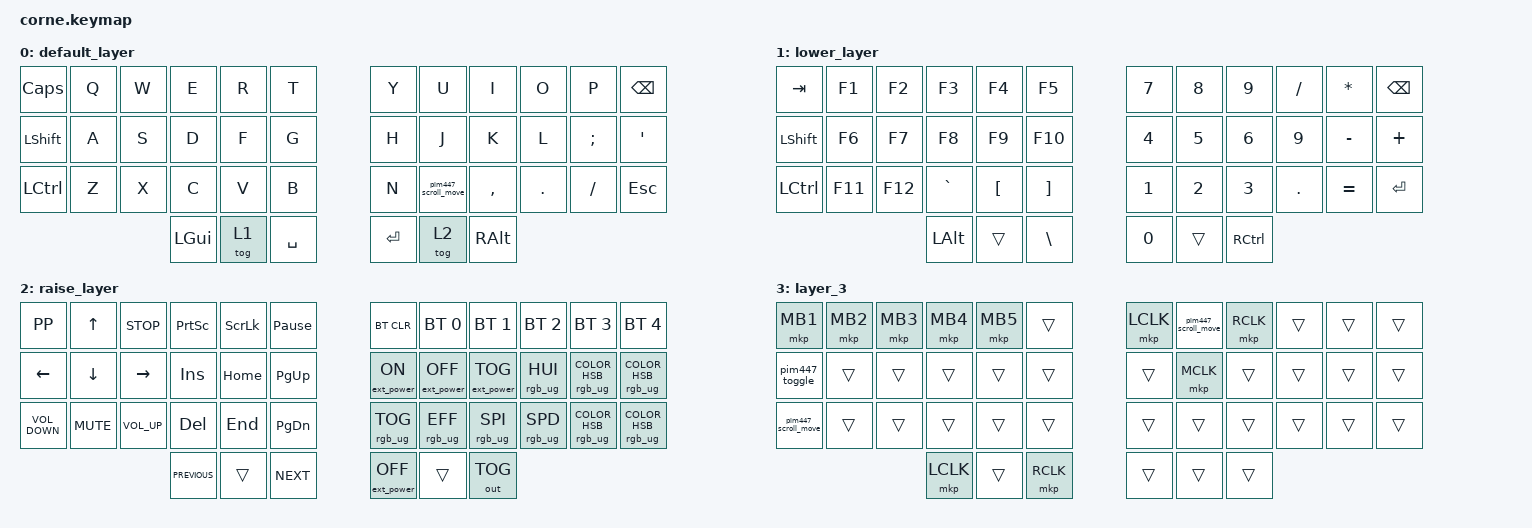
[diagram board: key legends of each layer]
/*
 * Copyright (c) 2021 The ZMK Contributors
 * #include <dt-bindings/zmk/pointing.h>
 * SPDX-License-Identifier: MIT
 */

#include <dt-bindings/led/led.h>
#include <dt-bindings/zmk/trackball_pim447.h>
#include <dt-bindings/zmk/mouse.h>
#include <behaviors.dtsi>
#include <dt-bindings/zmk/bt.h>
#include <dt-bindings/zmk/ext_power.h>
#include <dt-bindings/zmk/keys.h>
#include <dt-bindings/zmk/outputs.h>

#include <dt-bindings/zmk/rgb.h>

/ {
    keymap {
        compatible = "zmk,keymap";

        default_layer {
            bindings = <
&kp CAPSLOCK  &kp Q  &kp W  &kp E     &kp R   &kp T        &kp Y    &kp U   &kp I          &kp O    &kp P     &kp BSPC
&kp LSHFT     &kp A  &kp S  &kp D     &kp F   &kp G        &kp H    &kp J   &kp K          &kp L    &kp SEMI  &kp SQT
&kp LCTRL     &kp Z  &kp X  &kp C     &kp V   &kp B        &kp N    &pim447_scroll_move   &kp COMMA      &kp DOT  &kp FSLH  &kp ESC
                            &kp LGUI  &tog 1  &kp SPACE    &kp RET  &tog 2  &kp RIGHT_ALT
            >;
        };

        lower_layer {
            bindings = <
&kp TAB    &kp F1   &kp F2   &kp F3        &kp F4            &kp F5               &kp NUMBER_7  &kp NUMBER_8  &kp NUMBER_9  &kp SLASH     &kp ASTERISK  &kp BSPC
&kp LSHFT  &kp F6   &kp F7   &kp F8        &kp F9            &kp F10              &kp NUMBER_4  &kp N5        &kp NUMBER_6  &kp NUMBER_9  &kp MINUS     &kp PLUS
&kp LCTRL  &kp F11  &kp F12  &kp GRAVE     &kp LEFT_BRACKET  &kp RIGHT_BRACKET    &kp NUMBER_1  &kp NUMBER_2  &kp NUMBER_3  &kp DOT       &kp EQUAL     &kp ENTER
                             &kp LEFT_ALT  &trans            &kp BSLH             &kp NUMBER_0  &trans        &kp RCTRL
            >;
        };

        raise_layer {
            bindings = <
&kp K_PP           &kp UP      &kp C_STOP       &kp PRINTSCREEN  &kp SCROLLLOCK  &kp PAUSE_BREAK    &bt BT_CLR         &bt BT_SEL 0       &bt BT_SEL 1       &bt BT_SEL 2     &bt BT_SEL 3                      &bt BT_SEL 4
&kp LEFT           &kp DOWN    &kp RIGHT        &kp INS          &kp HOME        &kp PG_UP          &ext_power EP_ON   &ext_power EP_OFF  &ext_power EP_TOG  &rgb_ug RGB_HUI  &rgb_ug RGB_COLOR_HSB(66,91,51)   &rgb_ug RGB_COLOR_HSB(99,91,50)
&kp C_VOLUME_DOWN  &kp K_MUTE  &kp C_VOLUME_UP  &kp DEL          &kp END         &kp PG_DN          &rgb_ug RGB_TOG    &rgb_ug RGB_EFF    &rgb_ug RGB_SPI    &rgb_ug RGB_SPD  &rgb_ug RGB_COLOR_HSB(240,88,49)  &rgb_ug RGB_COLOR_HSB(0,87,50)
                                                &kp C_PREVIOUS   &trans          &kp C_NEXT         &ext_power EP_OFF  &trans             &out OUT_TOG
            >;
        };

        layer_3 {
            bindings = <
&mkp MB1             &mkp MB2  &mkp MB3  &mkp MB4   &mkp MB5  &trans       &mkp LCLK  &pim447_scroll_move  &mkp RCLK  &trans  &trans  &trans
&pim447_toggle       &trans    &trans    &trans     &trans    &trans       &trans     &mkp MCLK            &trans     &trans  &trans  &trans
&pim447_scroll_move  &trans    &trans    &trans     &trans    &trans       &trans     &trans               &trans     &trans  &trans  &trans
                                         &mkp LCLK  &trans    &mkp RCLK    &trans     &trans               &trans
            >;
        };
    };

    conditional_layers {
        compatible = "zmk,conditional-layers";

        trackball {
            if-layers = <1 2>;
            then-layer = <3>;
        };
    };
};
